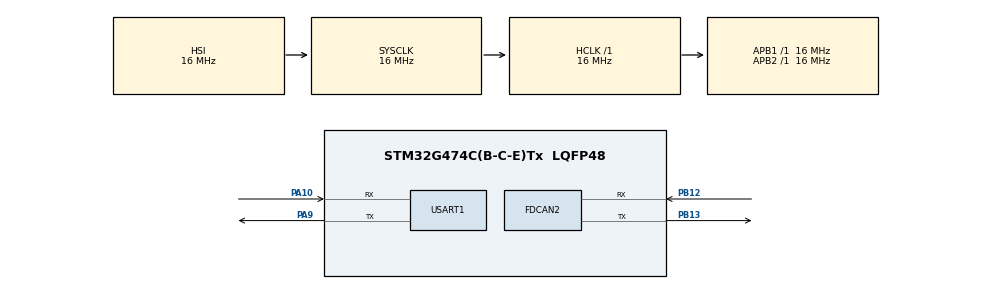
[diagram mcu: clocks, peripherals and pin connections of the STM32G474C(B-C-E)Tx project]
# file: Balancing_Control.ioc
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FDCAN2.CalculateBaudRateNominal=500000
FDCAN2.CalculateTimeBitNominal=2000
FDCAN2.CalculateTimeQuantumNominal=500.0
FDCAN2.NominalPrescaler=8
FDCAN2.NominalTimeSeg1=2
FDCAN2.StdFiltersNbr=1
Mcu.Family=STM32G4
Mcu.Name=STM32G474C(B-C-E)Tx
Mcu.Package=LQFP48
NVIC.FDCAN2_IT0_IRQn=true\:0\:0\:false\:false\:true\:true\:true\:true
NVIC.PriorityGroup=NVIC_PRIORITYGROUP_4
PA10.Mode=Asynchronous
PA10.Signal=USART1_RX
PA13.Mode=Serial_Wire
PA13.Signal=SYS_JTMS-SWDIO
PA14.Mode=Serial_Wire
PA14.Signal=SYS_JTCK-SWCLK
PA9.Mode=Asynchronous
PA9.Signal=USART1_TX
PB12.GPIO_PuPd=GPIO_PULLUP
PB12.Mode=FDCAN_Activate
PB12.Signal=FDCAN2_RX
PB13.Mode=FDCAN_Activate
PB13.Signal=FDCAN2_TX
ProjectManager.HeapSize=0x200
ProjectManager.StackSize=0x400
ProjectManager.TargetToolchain=STM32CubeIDE
RCC.AHBFreq_Value=16000000
RCC.APB1Freq_Value=16000000
RCC.APB1TimFreq_Value=16000000
RCC.APB2Freq_Value=16000000
RCC.APB2TimFreq_Value=16000000
RCC.CortexFreq_Value=16000000
RCC.EXTERNAL_CLOCK_VALUE=12288000
RCC.HCLKFreq_Value=16000000
RCC.HSE_VALUE=8000000
RCC.HSI48_VALUE=48000000
RCC.HSI_VALUE=16000000
RCC.LSE_VALUE=32768
RCC.SYSCLKFreq_VALUE=16000000
RCC.USBFreq_Value=64000000
RCC.VCOOutputFreq_Value=128000000
USART1.VirtualMode-Asynchronous=VM_ASYNC
VP_SYS_VS_DBSignals.Mode=DisableDeadBatterySignals
board=custom

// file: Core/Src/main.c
/* USER CODE BEGIN Header */
/**
  ******************************************************************************
  * @file           : main.c
  * @brief          : Main program body
  ******************************************************************************
  * @attention
  *
  * Copyright (c) 2026 STMicroelectronics.
  * All rights reserved.
  *
  * This software is licensed under terms that can be found in the LICENSE file
  * in the root directory of this software component.
  * If no LICENSE file comes with this software, it is provided AS-IS.
  *
  ******************************************************************************
  */
/* USER CODE END Header */
#include "main.h"

/* USER CODE BEGIN Includes */
#include <stdio.h>
#include <stdarg.h>
#include <math.h>
/* USER CODE END Includes */

/* USER CODE BEGIN PTD */
typedef union
{
    float f;
    uint8_t b[4];
} FloatBytes;

typedef struct
{
	FloatBytes V1;
	uint8_t r_V1;
	FloatBytes s_V1;
	FloatBytes V2;
	uint8_t r_V2;
	FloatBytes s_V2;
	FloatBytes V3;
	uint8_t r_V3;
	FloatBytes s_V3;
} Voltages;
/* USER CODE END PTD */

/* USER CODE BEGIN PD */
#define SERIAL_BUFFER_SIZE 256
/* USER CODE END PD */

FDCAN_HandleTypeDef hfdcan2;

UART_HandleTypeDef huart1;

/* USER CODE BEGIN PV */
FDCAN_TxHeaderTypeDef   TxHeader;
FDCAN_RxHeaderTypeDef   RxHeader;
uint8_t TxData[12];
uint8_t RxData[4];

Voltages volts;
/* USER CODE END PV */

void SystemClock_Config(void);
static void MX_GPIO_Init(void);
static void MX_FDCAN2_Init(void);
static void MX_USART1_UART_Init(void);
/* USER CODE BEGIN PFP */
static void FDCAN_Config();
void Serial_Print(UART_HandleTypeDef *huart, const char *fmt, ...);
void Run_Balancing();
/* USER CODE END PFP */

int main(void)
{

  /* MCU Configuration--------------------------------------------------------*/

  /* Reset of all peripherals, Initializes the Flash interface and the Systick. */
  HAL_Init();

  /* Configure the system clock */
  SystemClock_Config();

  /* Initialize all configured peripherals */
  MX_GPIO_Init();
  MX_FDCAN2_Init();
  MX_USART1_UART_Init();
  /* USER CODE BEGIN 2 */
  FDCAN_Config();
  //Serial_Print(&huart1, "Hello World");
  /* USER CODE END 2 */

  /* Infinite loop */
  /* USER CODE BEGIN WHILE */
  while (1)
  {
	  if(volts.r_V1 == 1 && volts.r_V2 == 1 && volts.r_V3 == 1)
	  {
		  Run_Balancing();
	  }
	  TxHeader.Identifier = 0x02;
	  TxHeader.TxFrameType = FDCAN_REMOTE_FRAME;
	  TxHeader.DataLength = FDCAN_DLC_BYTES_4;
	  if (HAL_FDCAN_AddMessageToTxFifoQ(&hfdcan2, &TxHeader, NULL)!= HAL_OK)
	  {
		Error_Handler();
	  }
	  TxHeader.Identifier = 0x03;
	  TxHeader.TxFrameType = FDCAN_REMOTE_FRAME;
	  TxHeader.DataLength = FDCAN_DLC_BYTES_4;
	  if (HAL_FDCAN_AddMessageToTxFifoQ(&hfdcan2, &TxHeader, NULL)!= HAL_OK)
	  {
		Error_Handler();
	  }
	  TxHeader.Identifier = 0x04;
	  TxHeader.TxFrameType = FDCAN_REMOTE_FRAME;
	  TxHeader.DataLength = FDCAN_DLC_BYTES_4;
	  if (HAL_FDCAN_AddMessageToTxFifoQ(&hfdcan2, &TxHeader, NULL)!= HAL_OK)
	  {
		Error_Handler();
	  }
	  HAL_GPIO_TogglePin(GPIOA, GPIO_PIN_7);
	  HAL_Delay(10);

    /* USER CODE END WHILE */

  }
}

void SystemClock_Config(void)
{
  RCC_OscInitTypeDef RCC_OscInitStruct = {0};
  RCC_ClkInitTypeDef RCC_ClkInitStruct = {0};

  /** Configure the main internal regulator output voltage
  */
  HAL_PWREx_ControlVoltageScaling(PWR_REGULATOR_VOLTAGE_SCALE1);

  /** Initializes the RCC Oscillators according to the specified parameters
  * in the RCC_OscInitTypeDef structure.
  */
  RCC_OscInitStruct.OscillatorType = RCC_OSCILLATORTYPE_HSI;
  RCC_OscInitStruct.HSIState = RCC_HSI_ON;
  RCC_OscInitStruct.HSICalibrationValue = RCC_HSICALIBRATION_DEFAULT;
  RCC_OscInitStruct.PLL.PLLState = RCC_PLL_NONE;
  if (HAL_RCC_OscConfig(&RCC_OscInitStruct) != HAL_OK)
  {
    Error_Handler();
  }

  /** Initializes the CPU, AHB and APB buses clocks
  */
  RCC_ClkInitStruct.ClockType = RCC_CLOCKTYPE_HCLK|RCC_CLOCKTYPE_SYSCLK
                              |RCC_CLOCKTYPE_PCLK1|RCC_CLOCKTYPE_PCLK2;
  RCC_ClkInitStruct.SYSCLKSource = RCC_SYSCLKSOURCE_HSI;
  RCC_ClkInitStruct.AHBCLKDivider = RCC_SYSCLK_DIV1;
  RCC_ClkInitStruct.APB1CLKDivider = RCC_HCLK_DIV1;
  RCC_ClkInitStruct.APB2CLKDivider = RCC_HCLK_DIV1;

  if (HAL_RCC_ClockConfig(&RCC_ClkInitStruct, FLASH_LATENCY_0) != HAL_OK)
  {
    Error_Handler();
  }
}

static void MX_FDCAN2_Init(void)
{

  hfdcan2.Instance = FDCAN2;
  hfdcan2.Init.ClockDivider = FDCAN_CLOCK_DIV1;
  hfdcan2.Init.FrameFormat = FDCAN_FRAME_CLASSIC;
  hfdcan2.Init.Mode = FDCAN_MODE_NORMAL;
  hfdcan2.Init.AutoRetransmission = DISABLE;
  hfdcan2.Init.TransmitPause = DISABLE;
  hfdcan2.Init.ProtocolException = DISABLE;
  hfdcan2.Init.NominalPrescaler = 8;
  hfdcan2.Init.NominalSyncJumpWidth = 1;
  hfdcan2.Init.NominalTimeSeg1 = 2;
  hfdcan2.Init.NominalTimeSeg2 = 1;
  hfdcan2.Init.DataPrescaler = 1;
  hfdcan2.Init.DataSyncJumpWidth = 1;
  hfdcan2.Init.DataTimeSeg1 = 1;
  hfdcan2.Init.DataTimeSeg2 = 1;
  hfdcan2.Init.StdFiltersNbr = 1;
  hfdcan2.Init.ExtFiltersNbr = 0;
  hfdcan2.Init.TxFifoQueueMode = FDCAN_TX_FIFO_OPERATION;
  if (HAL_FDCAN_Init(&hfdcan2) != HAL_OK)
  {
    Error_Handler();
  }

}

static void MX_USART1_UART_Init(void)
{

  huart1.Instance = USART1;
  huart1.Init.BaudRate = 115200;
  huart1.Init.WordLength = UART_WORDLENGTH_8B;
  huart1.Init.StopBits = UART_STOPBITS_1;
  huart1.Init.Parity = UART_PARITY_NONE;
  huart1.Init.Mode = UART_MODE_TX_RX;
  huart1.Init.HwFlowCtl = UART_HWCONTROL_NONE;
  huart1.Init.OverSampling = UART_OVERSAMPLING_16;
  huart1.Init.OneBitSampling = UART_ONE_BIT_SAMPLE_DISABLE;
  huart1.Init.ClockPrescaler = UART_PRESCALER_DIV1;
  huart1.AdvancedInit.AdvFeatureInit = UART_ADVFEATURE_NO_INIT;
  if (HAL_UART_Init(&huart1) != HAL_OK)
  {
    Error_Handler();
  }
  if (HAL_UARTEx_SetTxFifoThreshold(&huart1, UART_TXFIFO_THRESHOLD_1_8) != HAL_OK)
  {
    Error_Handler();
  }
  if (HAL_UARTEx_SetRxFifoThreshold(&huart1, UART_RXFIFO_THRESHOLD_1_8) != HAL_OK)
  {
    Error_Handler();
  }
  if (HAL_UARTEx_DisableFifoMode(&huart1) != HAL_OK)
  {
    Error_Handler();
  }

}

static void MX_GPIO_Init(void)
{
  /* USER CODE BEGIN MX_GPIO_Init_1 */
	GPIO_InitTypeDef GPIO_InitStruct = {0};
  /* USER CODE END MX_GPIO_Init_1 */

  /* GPIO Ports Clock Enable */
  __HAL_RCC_GPIOB_CLK_ENABLE();
  __HAL_RCC_GPIOA_CLK_ENABLE();

  /* USER CODE BEGIN MX_GPIO_Init_2 */

  /*Configure GPIO pin : LED_Pin */
  GPIO_InitStruct.Pin = GPIO_PIN_7;
  GPIO_InitStruct.Mode = GPIO_MODE_OUTPUT_PP;
  GPIO_InitStruct.Pull = GPIO_NOPULL;
  GPIO_InitStruct.Speed = GPIO_SPEED_FREQ_LOW;
  HAL_GPIO_Init(GPIOA, &GPIO_InitStruct);

  /* USER CODE END MX_GPIO_Init_2 */
}

/* USER CODE BEGIN 4 */
static void FDCAN_Config()
{
	FDCAN_FilterTypeDef sFilterConfig;

	sFilterConfig.IdType = FDCAN_STANDARD_ID;
	sFilterConfig.FilterIndex = 0;
	sFilterConfig.FilterType = FDCAN_FILTER_RANGE;
	sFilterConfig.FilterConfig = FDCAN_FILTER_TO_RXFIFO0;
	sFilterConfig.FilterID1 = 0x10;
	sFilterConfig.FilterID2 = 0x20;
	if (HAL_FDCAN_ConfigFilter(&hfdcan2, &sFilterConfig) != HAL_OK)
	{
	  /* Filter configuration Error */
	  Error_Handler();
	}

	if(HAL_FDCAN_Start(&hfdcan2)!= HAL_OK)
	{
	 Error_Handler();
	}

	if (HAL_FDCAN_ActivateNotification(&hfdcan2, FDCAN_IT_RX_FIFO0_NEW_MESSAGE, 0) != HAL_OK)
	{
		Error_Handler();
	}

	// Configure TX Header for FDCAN1
	TxHeader.Identifier = 0x01;
	TxHeader.IdType = FDCAN_STANDARD_ID;
	TxHeader.TxFrameType = FDCAN_DATA_FRAME;
	TxHeader.DataLength = FDCAN_DLC_BYTES_12;
	TxHeader.ErrorStateIndicator = FDCAN_ESI_ACTIVE;
	TxHeader.BitRateSwitch = FDCAN_BRS_OFF;
	TxHeader.FDFormat = FDCAN_CLASSIC_CAN;
	TxHeader.TxEventFifoControl = FDCAN_NO_TX_EVENTS;
	TxHeader.MessageMarker = 0;
}

void HAL_FDCAN_RxFifo0Callback(FDCAN_HandleTypeDef *hfdcan, uint32_t RxFifo0ITs)
{
	if((RxFifo0ITs & FDCAN_IT_RX_FIFO0_NEW_MESSAGE) != RESET)
	{
		/* Retreive Rx messages from RX FIFO1 */
		if (HAL_FDCAN_GetRxMessage(hfdcan, FDCAN_RX_FIFO0, &RxHeader, RxData) != HAL_OK)
		{
			/* Reception Error */
			Error_Handler();
		}

		if(RxHeader.Identifier == 0x10)
		{
			volts.V1.b[0] = RxData[0];
			volts.V1.b[1] = RxData[1];
			volts.V1.b[2] = RxData[2];
			volts.V1.b[3] = RxData[3];
			volts.r_V1 = 1;
		}
		else if(RxHeader.Identifier == 0x11)
		{
			volts.V2.b[0] = RxData[0];
			volts.V2.b[1] = RxData[1];
			volts.V2.b[2] = RxData[2];
			volts.V2.b[3] = RxData[3];
			volts.r_V2 = 1;
		}
		else if(RxHeader.Identifier == 0x12)
		{
			volts.V3.b[0] = RxData[0];
			volts.V3.b[1] = RxData[1];
			volts.V3.b[2] = RxData[2];
			volts.V3.b[3] = RxData[3];
			volts.r_V3 = 1;
		}
	}
}

void Run_Balancing()
{
	float sum = volts.V1.f + volts.V2.f + volts.V3.f;
	float mean = sum/3;
	float dif[3];
	float k[3];

	dif[0] = mean - volts.V1.f;
	dif[1] = mean - volts.V2.f;
	dif[2] = mean - volts.V3.f;
	// ===============================
	// Encontrar maior valor em módulo
	// ===============================

	float maior = fabsf(dif[0]);
	int indice_maior = 0;

	if(fabsf(dif[1]) > maior)
	{
	    maior = fabsf(dif[1]);
	    indice_maior = 1;
	}

	if(fabsf(dif[2]) > maior)
	{
	    maior = fabsf(dif[2]);
	    indice_maior = 2;
	}

	// ===============================
	// Calcular k[]
	// ===============================

	for(int i = 0; i < 3; i++)
	{
	    if(i == indice_maior)
	    {

	        k[i] = (dif[indice_maior]>0)?-4.0f:4.0f;
	    }
	    else
	    {
	        k[i] = dif[i] * 4.0f / dif[indice_maior];
	    }
	}

	volts.s_V1.f = (fabs(dif[0])>0.01)?k[0]:dif[0]*-5;
	volts.s_V2.f = (fabs(dif[1])>0.01)?k[1]:dif[1]*-5;
	volts.s_V3.f = (fabs(dif[2])>0.01)?k[2]:dif[2]*-5;

	TxData[0] = volts.s_V1.b[0];
	TxData[1] = volts.s_V1.b[1];
	TxData[2] = volts.s_V1.b[2];
	TxData[3] = volts.s_V1.b[3];
	TxData[4] = volts.s_V2.b[0];
	TxData[5] = volts.s_V2.b[1];
	TxData[6] = volts.s_V2.b[2];
	TxData[7] = volts.s_V2.b[3];
	TxData[8] = volts.s_V3.b[0];
	TxData[9] = volts.s_V3.b[1];
	TxData[10] = volts.s_V3.b[2];
	TxData[11] = volts.s_V3.b[3];

	TxHeader.Identifier = 0x01;
	TxHeader.TxFrameType = FDCAN_DATA_FRAME;
	TxHeader.DataLength = FDCAN_DLC_BYTES_12;
	if (HAL_FDCAN_AddMessageToTxFifoQ(&hfdcan2, &TxHeader, TxData)!= HAL_OK)
	{
		Error_Handler();
	}

	volts.r_V1 = 0;
	volts.r_V2 = 0;
	volts.r_V3 = 0;
}

void Serial_Print(UART_HandleTypeDef *huart, const char *fmt, ...)
{
    char buffer[SERIAL_BUFFER_SIZE];

    va_list args;
    va_start(args, fmt);

    int len = vsnprintf(buffer, sizeof(buffer), fmt, args);

    va_end(args);

    if (len > 0)
    {
        if (len > sizeof(buffer))
            len = sizeof(buffer);

        HAL_UART_Transmit(huart, (uint8_t *)buffer, len, HAL_MAX_DELAY);
    }
}

/* USER CODE END 4 */

void Error_Handler(void)
{
  __disable_irq();
  while (1)
  {
  }
}
